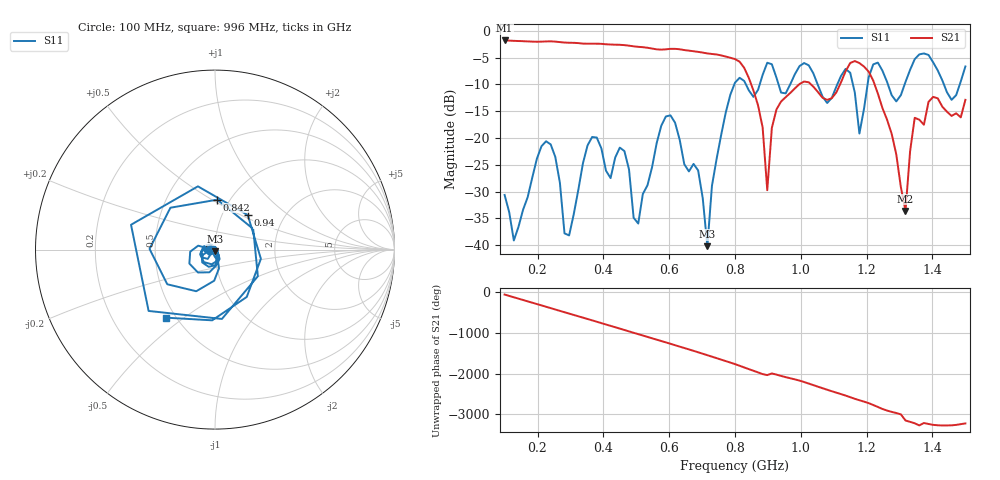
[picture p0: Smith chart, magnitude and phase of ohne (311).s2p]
! NanoVNA-App
! Date: 2025-09-25 14:23:13
! Start: 100MHz Stop: 1,5GHz Points: 101
! S-Parameter data: F S11 S21 S12 S22
# Hz S RI R 50
!  Frequency  S11_Real  S11_Imag  S21_Real  S21_Imag  S12_Real  S12_Imag  S22_Real  S22_Imag
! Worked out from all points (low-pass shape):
!   101 points, 100 MHz to 1.5 GHz, reference 50 ohm
!   highest |S21| = -1.79 dB at 100 MHz (marker M1); lowest = -33.6 dB at 1.318 GHz (marker M2)
!   |S21| within 3 dB of the highest: start of sweep to 771.4 MHz
!   lowest |S11| = -40.2 dB at 716 MHz (marker M3), VSWR 1.02, Z = 49.8 - j0.964 ohm
!   |S11| at or under -10 dB: start of sweep to 797.9 MHz; 833.2 MHz to 875.1 MHz (41.91 MHz wide, 4.91 % of centre); 1.051 GHz to 1.111 GHz (59.68 MHz wide, 5.52 % of centre)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
!   S12 and S22 are empty: the file has one direction only
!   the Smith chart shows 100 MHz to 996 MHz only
!   S11 on the Smith chart (normalised r, x): 100 MHz: 0.94, -0.01; 842 MHz: 0.88, +0.53; 940 MHz: 1.32, +0.55; 996 MHz: 0.44, -0.43
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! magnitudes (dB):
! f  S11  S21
! 100 MHz  -30.6  -1.8
! 128 MHz  -39.1  -1.9
! 226 MHz  -20.6  -2.0
! 296 MHz  -38.2  -2.2
! 338 MHz  -24.7  -2.4
! 464 MHz  -22.4  -2.7
! 506 MHz  -36.0  -3.0
! 576 MHz  -17.7  -3.5
! 688 MHz  -26.0  -3.9
! 716 MHz  -40.2  -4.2
! 800 MHz  -9.7  -5.3
! 842 MHz  -11.1  -8.8
! 898 MHz  -6.0  -29.7
! 940 MHz  -11.5  -13.2
! 996 MHz  -6.6  -9.9
! 1.038 GHz  -7.9  -10.4
! 1.178 GHz  -19.2  -6.0
! 1.22 GHz  -6.3  -9.3
! 1.276 GHz  -12.0  -19.2
! 1.318 GHz  -9.5  -33.6
! 1.346 GHz  -5.3  -16.2
! 1.5 GHz  -6.6  -12.9
